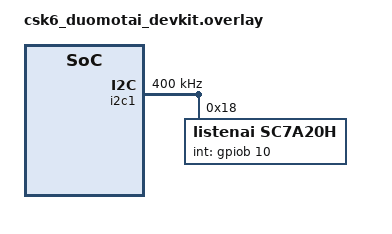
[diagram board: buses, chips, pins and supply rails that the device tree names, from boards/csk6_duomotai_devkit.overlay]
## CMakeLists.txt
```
# SPDX-License-Identifier: Apache-2.0

cmake_minimum_required(VERSION 3.20.0)
set(SUPPORT_BOARDS csk6_duomotai_devkit)
if(NOT ${BOARD} IN_LIST SUPPORT_BOARDS)
    message("Please choose one of the following boards:")
    foreach(item ${SUPPORT_BOARDS})
        message(STATUS ${item})
    endforeach()
    message(FATAL_ERROR "\nThe project does not support the ${BOARD}")
endif()
find_package(Zephyr REQUIRED HINTS $ENV{ZEPHYR_BASE})
project(sc7a20h)

target_sources(app PRIVATE src/main.c)
```

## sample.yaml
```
sample:
  name: SC7A20H Sensor Sample
tests:
  sample.sensor.sc7a20h:
    build_only: true
    platform_allow: csk6_duomotai_devkit
    tags: sensors
    integration_platforms:
      - csk6_duomotai_devkit
```

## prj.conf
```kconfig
CONFIG_STDOUT_CONSOLE=y
CONFIG_I2C=y
CONFIG_GPIO=y
CONFIG_SENSOR=y
CONFIG_SC7A20H=y
CONFIG_LOG=y

CONFIG_SC7A20H_TRIGGER=n

CONFIG_CBPRINTF_FP_SUPPORT=y
```

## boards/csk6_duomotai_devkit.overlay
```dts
/*
 * Copyright (c) 2025 Anhui Listenai Co., Ltd.
 *
 * SPDX-License-Identifier: Apache-2.0
 */

&pinctrl {
    pinctrl_i2c1_scl_default: i2c1_scl_default {
        pinctrls = <I2C1_SCL_GPIOB_09>;
    };

    pinctrl_i2c1_sda_default: i2c1_sda_default {
        pinctrls = <I2C1_SDA_GPIOB_08>;
    };
};

/ {
    aliases {
        sc7a20h = &sc7a20h;
    };
};

&i2c1 {
    status = "okay";
    pinctrl-0 = <&pinctrl_i2c1_scl_default &pinctrl_i2c1_sda_default>;
    pinctrl-names = "default";
    clock-frequency = <400000>; // 400KHz

    sc7a20h: sc7a20h@18 {
        compatible = "listenai,sc7a20h";
        reg = <0x18>;
        status = "okay";
        int-gpios = <&gpiob 10 GPIO_ACTIVE_HIGH>;
    };
};
```

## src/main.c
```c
/*
 * Copyright (c) 2025 Anhui(Shenzhen) Listenai Co., Ltd.
 *
 * SPDX-License-Identifier: Apache-2.0
 */
#include <zephyr/drivers/i2c.h>
#include <zephyr/drivers/sensor.h>
#include <zephyr/kernel.h>
#include <zephyr/sys/printk.h>

#define SLEEP_TIME_MS 1000

static inline double sc7a20h_value_to_ms2(const struct sensor_value *val)
{
	return (double)val->val1 + (double)val->val2 / 1000000.0;
}

static int process_sc7a20h(const struct device *dev)
{
	struct sensor_value accel[3];
	int rc;

	rc = sensor_sample_fetch(dev);
	if (rc != 0) {
		printk("sensor_sample_fetch failed: %d\n", rc);
		return rc;
	}

	rc = sensor_channel_get(dev, SENSOR_CHAN_ACCEL_XYZ, accel);
	if (rc != 0) {
		printk("Failed to get acceleration data: %d\n", rc);
		return rc;
	}

	printk("Accel (m/s^2): X=%.2f, Y=%.2f, Z=%.2f\n", sc7a20h_value_to_ms2(&accel[0]),
	       sc7a20h_value_to_ms2(&accel[1]), sc7a20h_value_to_ms2(&accel[2]));

	return 0;
}

#ifdef CONFIG_SC7A20H_TRIGGER
static void trigger_handler(const struct device *dev, const struct sensor_trigger *trigger)
{
	struct sensor_value accel[3];
	int ret;

	ret = sensor_sample_fetch(dev);
	if (ret != 0) {
		printk("sensor_sample_fetch failed: %d\n", ret);
		return;
	}

	ret = sensor_channel_get(dev, SENSOR_CHAN_ACCEL_XYZ, accel);
	if (ret == 0) {
		printk("Accel (m/s^2): X=%.2f, Y=%.2f, Z=%.2f\n", sc7a20h_value_to_ms2(&accel[0]),
		       sc7a20h_value_to_ms2(&accel[1]), sc7a20h_value_to_ms2(&accel[2]));
	}
}
#endif

int main(void)
{
	const struct device *dev = DEVICE_DT_GET(DT_NODELABEL(sc7a20h));
	int ret;

	printk("SC7A20H test start\n");

	if (!device_is_ready(dev)) {
		printk("SC7A20H device not found\n");
		return -1;
	}

#ifdef CONFIG_SC7A20H_TRIGGER
	struct sensor_trigger trigger = {
		.type = SENSOR_TRIG_DATA_READY,
		.chan = SENSOR_CHAN_ACCEL_XYZ,
	};

	if (sensor_trigger_set(dev, &trigger, trigger_handler) < 0) {
		printk("Cannot configure trigger\n");
		return -1;
	}

	printk("Configured for triggered sampling.\n");
	printk("Move the sensor to generate data!\n");
#else
	printk("Running in polling mode\n");
#endif

	while (1) {
		ret = process_sc7a20h(dev);
		if (ret < 0) {
			printk("Error processing sensor data: %d\n", ret);
		}
		k_sleep(K_MSEC(SLEEP_TIME_MS));
	}

	return 0;
}
```
